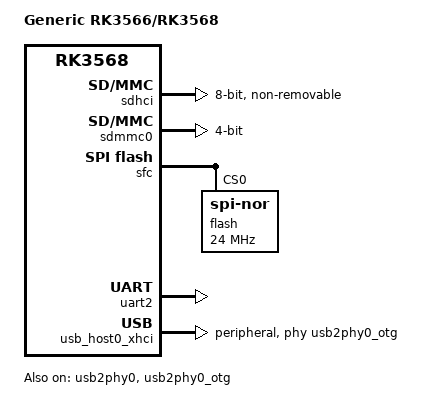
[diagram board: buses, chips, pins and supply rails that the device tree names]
// SPDX-License-Identifier: (GPL-2.0+ OR MIT)
/*
 * Minimal generic DT for RK3566/RK3568 with eMMC, SD-card, SPI flash and USB OTG enabled
 */

/dts-v1/;
#include "rk356x-base.dtsi"

/ {
	model = "Generic RK3566/RK3568";
	compatible = "rockchip,rk3568";

	aliases {
		mmc0 = &sdhci;
		mmc1 = &sdmmc0;
	};

	chosen {
		stdout-path = "serial2:1500000n8";
	};
};

&sdhci {
	bus-width = <8>;
	cap-mmc-highspeed;
	mmc-hs200-1_8v;
	no-sd;
	no-sdio;
	non-removable;
	pinctrl-names = "default";
	pinctrl-0 = <&emmc_bus8 &emmc_clk &emmc_cmd &emmc_datastrobe>;
	status = "okay";
};

&sdmmc0 {
	bus-width = <4>;
	cap-sd-highspeed;
	disable-wp;
	no-mmc;
	no-sdio;
	pinctrl-names = "default";
	pinctrl-0 = <&sdmmc0_bus4 &sdmmc0_clk &sdmmc0_cmd &sdmmc0_det>;
	status = "okay";
};

&sfc {
	#address-cells = <1>;
	#size-cells = <0>;
	status = "okay";

	flash@0 {
		compatible = "jedec,spi-nor";
		reg = <0>;
		spi-max-frequency = <24000000>;
	};
};

&uart2 {
	status = "okay";
};

&usb_host0_xhci {
	dr_mode = "peripheral";
	extcon = <&usb2phy0>;
	maximum-speed = "high-speed";
	phys = <&usb2phy0_otg>;
	phy-names = "usb2-phy";
	status = "okay";
};

&usb2phy0 {
	status = "okay";
};

&usb2phy0_otg {
	status = "okay";
};
